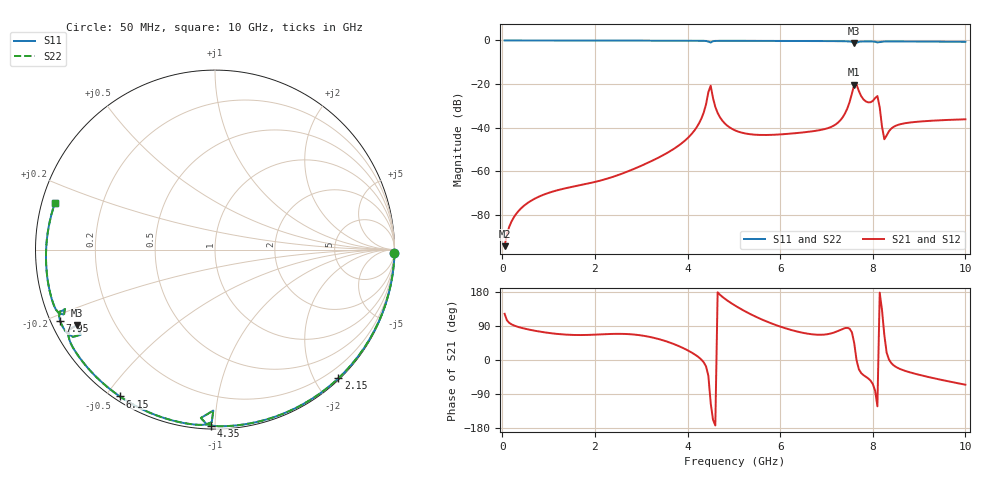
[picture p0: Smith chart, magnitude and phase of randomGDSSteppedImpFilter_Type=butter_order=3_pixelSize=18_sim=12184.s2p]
! freq	dB(S11)	phase(S11)	dB(S12)	phase(S12)
!  dB(S21)	phase(S21)	dB(S22)	phase(S22)
!S-par simulation data
#  GHz  S  DB  R 50
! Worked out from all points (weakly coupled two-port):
!   200 points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, 50 MHz to 10 GHz, reference 50 ohm
!   highest |S21| = -20.23 dB at 7.6 GHz (marker M1); lowest = -94.4 dB at 50 MHz (marker M2)
!   lowest |S11| = -1.2 dB at 7.6 GHz (marker M3), VSWR 14.91, Z = 3.57 - j12.7 ohm
!   |S11| at or under -10 dB: nowhere
!   |S22| runs from -1.1 to 0.0 dB; largest |S21 - S12| = 0
!   S11 on the Smith chart (normalised r, x): 50 MHz: open; 2.15 GHz: 0.02, -2.34; 4.35 GHz: 0.02, -0.98; 6.15 GHz: 0.02, -0.54; 7.95 GHz: 0.03, -0.22; 10 GHz: 0.04, +0.14
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0.05  -0.00 -1.1  -94.45 121.8  -94.45 121.8  -0.00 -1.1
0.9  -0.02 -19.7  -70.74 73.2  -70.74 73.2  -0.02 -19.7
1.75  -0.05 -37.8  -66.14 65.9  -66.14 65.9  -0.05 -37.8
2.15  -0.06 -46.2  -64.14 67.7  -64.14 67.7  -0.06 -46.2
3.4  -0.10 -71.6  -53.50 54.5  -53.50 54.5  -0.10 -71.6
4.05  -0.12 -84.5  -43.82 22.4  -43.82 22.4  -0.12 -84.5
4.35  -0.17 -91.2  -33.06 -6.1  -33.06 -6.1  -0.17 -91.2
4.5  -0.95 -90.6  -20.78 -113.7  -20.78 -113.7  -0.94 -90.6
4.6  -0.22 -92.9  -30.53 -172.8  -30.53 -172.8  -0.22 -92.9
4.7  -0.17 -95.4  -35.26 172.3  -35.26 172.3  -0.17 -95.4
5.05  -0.16 -102.5  -41.49 141.9  -41.49 141.9  -0.16 -102.5
6.15  -0.22 -122.9  -42.91 82.3  -42.91 82.3  -0.22 -122.9
6.7  -0.26 -133.0  -41.69 67.7  -41.69 67.7  -0.26 -133.0
7.3  -0.33 -144.6  -36.65 79.4  -36.65 79.4  -0.33 -144.6
7.45  -0.40 -148.2  -31.24 85.0  -31.24 85.0  -0.40 -148.1
7.6  -1.17 -151.3  -20.23 44.0  -20.23 44.0  -1.14 -151.3
7.95  -0.45 -155.3  -28.38 -54.1  -28.38 -54.1  -0.45 -155.4
8.1  -0.89 -158.3  -25.52 -122.2  -25.52 -122.2  -0.93 -158.4
8.25  -0.47 -159.4  -45.37 65.2  -45.37 65.2  -0.48 -159.3
8.35  -0.44 -161.7  -41.66 1.1  -41.66 1.1  -0.44 -161.7
8.75  -0.47 -170.0  -37.82 -30.7  -37.82 -30.7  -0.47 -170.0
10  -0.64 163.8  -36.20 -65.2  -36.20 -65.2  -0.64 163.8
